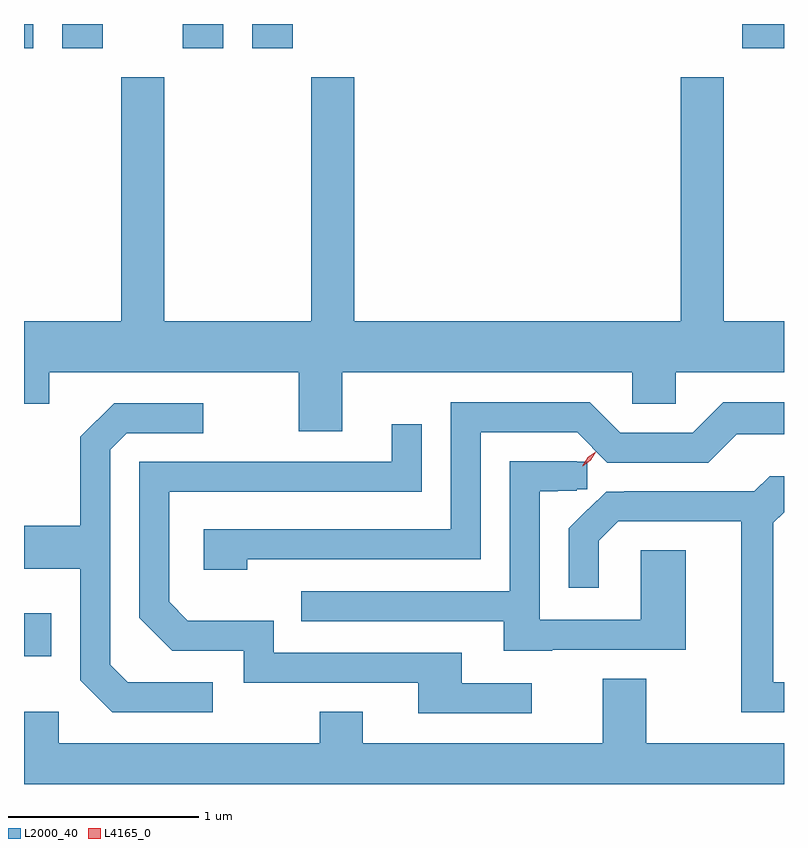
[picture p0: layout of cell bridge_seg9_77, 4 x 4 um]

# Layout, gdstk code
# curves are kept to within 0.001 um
import gdstk
lib = gdstk.Library(unit=1e-6, precision=1e-09)
def R(c, l, rs):  # rectangles x0, y0, x1, y1
    for r in rs: c.add(gdstk.rectangle(r[:2], r[2:], *l))
def P(c, l, *ps):  # polygons
    for p in ps: c.add(gdstk.Polygon(p, *l))
L2000_40 = (2000, 40)
L4165_0 = (4165, 0)

bridge_seg9_77 = lib.new_cell('bridge_seg9_77')
R(bridge_seg9_77, L2000_40, [(1907.225,2010.301,1907.369,2010.529), (1907.225,2013.501,1907.274,2013.629), (1907.426,2013.501,1907.639,2013.629), (1908.061,2013.501,1908.274,2013.629), (1908.426,2013.501,1908.639,2013.629), (1911.006,2013.501,1911.225,2013.629)])
P(bridge_seg9_77, L2000_40, [(1908.899,2011.796),(1910.426,2011.796),(1910.426,2011.631),(1910.654,2011.631),(1910.654,2011.796),(1911.225,2011.796),(1911.225,2012.064),(1910.909,2012.064),(1910.909,2013.349),(1910.681,2013.349),(1910.681,2012.064),(1908.964,2012.064),(1908.964,2013.349),(1908.736,2013.349),(1908.736,2012.064),(1907.964,2012.064),(1907.964,2013.349),(1907.736,2013.349),(1907.736,2012.064),(1907.225,2012.064),(1907.225,2011.631),(1907.359,2011.631),(1907.359,2011.796),(1908.671,2011.796),(1908.671,2011.486),(1908.899,2011.486)],
  [(1908.399,2010.811),(1909.629,2010.811),(1909.629,2011.481),(1910.136,2011.481),(1910.296,2011.321),(1910.827,2011.321),(1910.977,2011.471),(1911.225,2011.471),(1911.225,2011.639),(1910.904,2011.639),(1910.744,2011.479),(1910.362,2011.479),(1910.202,2011.639),(1909.471,2011.639),(1909.471,2010.969),(1908.171,2010.969),(1908.171,2010.756),(1908.399,2010.756)],
  [(1908.218,2010.164),(1907.772,2010.164),(1907.679,2010.257),(1907.679,2011.389),(1907.767,2011.476),(1908.168,2011.476),(1908.168,2011.634),(1907.699,2011.634),(1907.521,2011.457),(1907.521,2010.989),(1907.225,2010.989),(1907.225,2010.761),(1907.521,2010.761),(1907.521,2010.174),(1907.689,2010.006),(1908.218,2010.006)],
  [(1909.898,2010.159),(1909.529,2010.159),(1909.529,2010.319),(1908.539,2010.319),(1908.539,2010.489),(1908.087,2010.489),(1907.989,2010.587),(1907.989,2011.166),(1909.319,2011.166),(1909.319,2011.523),(1909.161,2011.523),(1909.161,2011.324),(1907.831,2011.324),(1907.831,2010.504),(1908.004,2010.331),(1908.381,2010.331),(1908.381,2010.161),(1909.301,2010.161),(1909.301,2010.001),(1909.898,2010.001)],
  [(1910.005,2010.336),(1910.709,2010.336),(1910.709,2010.859),(1910.471,2010.859),(1910.471,2010.494),(1909.939,2010.494),(1909.939,2011.171),(1910.035,2011.171),(1910.035,2011.172),(1910.135,2011.172),(1910.135,2011.181),(1910.189,2011.181),(1910.189,2011.325),(1910.135,2011.325),(1910.135,2011.328),(1910.035,2011.328),(1910.035,2011.329),(1909.781,2011.329),(1909.781,2010.644),(1908.683,2010.644),(1908.683,2010.486),(1909.751,2010.486),(1909.751,2010.331),(1910.005,2010.331)],
  [(1911.225,2010.164),(1911.169,2010.164),(1911.169,2011.004),(1911.225,2011.059),(1911.225,2011.249),(1911.149,2011.249),(1911.069,2011.169),(1910.29,2011.168),(1910.195,2011.074),(1910.192,2011.076),(1910.091,2010.975),(1910.091,2010.663),(1910.249,2010.663),(1910.249,2010.909),(1910.352,2011.011),(1911.001,2011.011),(1911.001,2010.006),(1911.225,2010.006)],
  [(1911.225,2009.844),(1910.499,2009.844),(1910.499,2010.184),(1910.271,2010.184),(1910.271,2009.844),(1909.009,2009.844),(1909.009,2010.009),(1908.781,2010.009),(1908.781,2009.844),(1907.409,2009.844),(1907.409,2010.009),(1907.225,2010.009),(1907.225,2009.629),(1911.225,2009.629)])
P(bridge_seg9_77, L4165_0, [(1910.167,2011.305),(1910.167,2011.306),(1910.193,2011.348),(1910.233,2011.377),(1910.233,2011.377),(1910.233,2011.376),(1910.207,2011.334),(1910.167,2011.305)],
  [(1910.166,2011.302),(1910.166,2011.302),(1910.193,2011.347),(1910.235,2011.378),(1910.235,2011.378),(1910.235,2011.377),(1910.208,2011.333),(1910.167,2011.302)])

lib.write_gds('bridge_seg9_77.gds')
